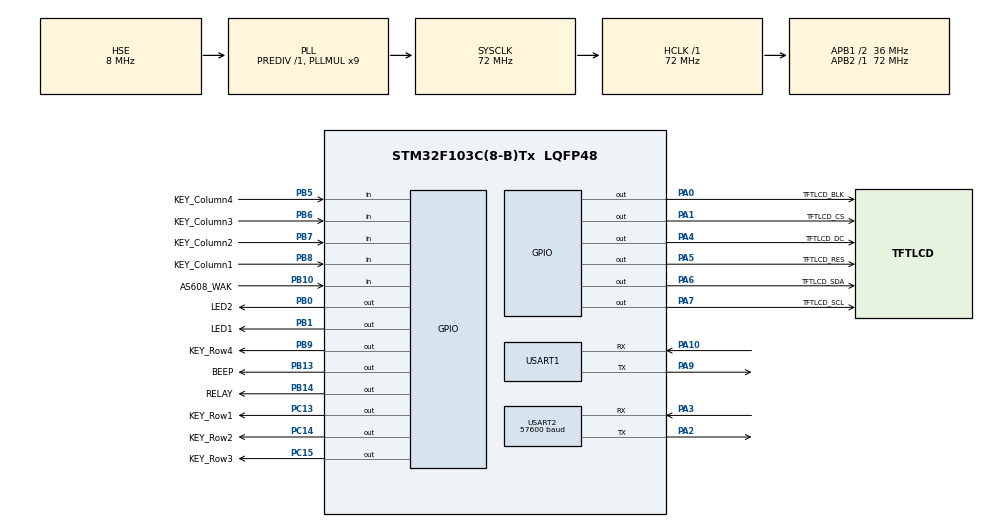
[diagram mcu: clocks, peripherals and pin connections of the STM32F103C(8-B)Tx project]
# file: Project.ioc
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Mcu.Family=STM32F1
Mcu.Name=STM32F103C(8-B)Tx
Mcu.Package=LQFP48
NVIC.PriorityGroup=NVIC_PRIORITYGROUP_4
NVIC.TIM2_IRQn=true\:10\:0\:true\:false\:true\:true\:true
NVIC.USART2_IRQn=true\:6\:0\:true\:false\:true\:true\:true
PA0-WKUP.GPIO_Label=TFTLCD_BLK
PA0-WKUP.GPIO_Speed=GPIO_SPEED_FREQ_MEDIUM
PA0-WKUP.PinState=GPIO_PIN_SET
PA0-WKUP.Signal=GPIO_Output
PA1.GPIO_Label=TFTLCD_CS
PA1.GPIO_Speed=GPIO_SPEED_FREQ_MEDIUM
PA1.PinState=GPIO_PIN_SET
PA1.Signal=GPIO_Output
PA10.Mode=Asynchronous
PA10.Signal=USART1_RX
PA13.Mode=Serial_Wire
PA13.Signal=SYS_JTMS-SWDIO
PA14.Mode=Serial_Wire
PA14.Signal=SYS_JTCK-SWCLK
PA2.Mode=Asynchronous
PA2.Signal=USART2_TX
PA3.Mode=Asynchronous
PA3.Signal=USART2_RX
PA4.GPIO_Label=TFTLCD_DC
PA4.GPIO_Speed=GPIO_SPEED_FREQ_MEDIUM
PA4.PinState=GPIO_PIN_SET
PA4.Signal=GPIO_Output
PA5.GPIO_Label=TFTLCD_RES
PA5.GPIO_Speed=GPIO_SPEED_FREQ_MEDIUM
PA5.PinState=GPIO_PIN_SET
PA5.Signal=GPIO_Output
PA6.GPIO_Label=TFTLCD_SDA
PA6.GPIO_Speed=GPIO_SPEED_FREQ_MEDIUM
PA6.PinState=GPIO_PIN_SET
PA6.Signal=GPIO_Output
PA7.GPIO_Label=TFTLCD_SCL
PA7.GPIO_ModeDefaultOutputPP=GPIO_MODE_OUTPUT_PP
PA7.GPIO_Speed=GPIO_SPEED_FREQ_MEDIUM
PA7.PinState=GPIO_PIN_SET
PA7.Signal=GPIO_Output
PA9.Mode=Asynchronous
PA9.Signal=USART1_TX
PB0.GPIO_Label=LED2
PB0.GPIO_Speed=GPIO_SPEED_FREQ_MEDIUM
PB0.PinState=GPIO_PIN_SET
PB0.Signal=GPIO_Output
PB1.GPIO_Label=LED1
PB1.GPIO_Speed=GPIO_SPEED_FREQ_MEDIUM
PB1.PinState=GPIO_PIN_SET
PB1.Signal=GPIO_Output
PB10.GPIO_Label=AS608_WAK
PB10.GPIO_PuPd=GPIO_PULLDOWN
PB10.Signal=GPIO_Input
PB13.GPIO_Label=BEEP
PB13.GPIO_Speed=GPIO_SPEED_FREQ_MEDIUM
PB13.Signal=GPIO_Output
PB14.GPIO_Label=RELAY
PB14.GPIO_Speed=GPIO_SPEED_FREQ_MEDIUM
PB14.Signal=GPIO_Output
PB5.GPIO_Label=KEY_Column4
PB5.GPIO_PuPd=GPIO_PULLDOWN
PB5.Signal=GPIO_Input
PB6.GPIO_Label=KEY_Column3
PB6.GPIO_PuPd=GPIO_PULLDOWN
PB6.Signal=GPIO_Input
PB7.GPIO_Label=KEY_Column2
PB7.GPIO_PuPd=GPIO_PULLDOWN
PB7.Signal=GPIO_Input
PB8.GPIO_Label=KEY_Column1
PB8.GPIO_PuPd=GPIO_PULLDOWN
PB8.Signal=GPIO_Input
PB9.GPIO_Label=KEY_Row4
PB9.GPIO_Speed=GPIO_SPEED_FREQ_MEDIUM
PB9.PinState=GPIO_PIN_RESET
PB9.Signal=GPIO_Output
PC13-TAMPER-RTC.GPIO_Label=KEY_Row1
PC13-TAMPER-RTC.GPIO_Speed=GPIO_SPEED_FREQ_MEDIUM
PC13-TAMPER-RTC.PinState=GPIO_PIN_RESET
PC13-TAMPER-RTC.Signal=GPIO_Output
PC14-OSC32_IN.GPIO_Label=KEY_Row2
PC14-OSC32_IN.GPIO_Speed=GPIO_SPEED_FREQ_MEDIUM
PC14-OSC32_IN.PinState=GPIO_PIN_RESET
PC14-OSC32_IN.Signal=GPIO_Output
PC15-OSC32_OUT.GPIO_Label=KEY_Row3
PC15-OSC32_OUT.GPIO_Speed=GPIO_SPEED_FREQ_MEDIUM
PC15-OSC32_OUT.PinState=GPIO_PIN_RESET
PC15-OSC32_OUT.Signal=GPIO_Output
PD0-OSC_IN.Mode=HSE-External-Oscillator
PD0-OSC_IN.Signal=RCC_OSC_IN
PD1-OSC_OUT.Mode=HSE-External-Oscillator
PD1-OSC_OUT.Signal=RCC_OSC_OUT
ProjectManager.HeapSize=0x200
ProjectManager.StackSize=0x400
ProjectManager.TargetToolchain=MDK-ARM V5.32
RCC.AHBFreq_Value=72000000
RCC.APB1CLKDivider=RCC_HCLK_DIV2
RCC.APB1Freq_Value=36000000
RCC.APB1TimFreq_Value=72000000
RCC.APB2Freq_Value=72000000
RCC.APB2TimFreq_Value=72000000
RCC.HCLKFreq_Value=72000000
RCC.PLLMUL=RCC_PLL_MUL9
RCC.PLLSourceVirtual=RCC_PLLSOURCE_HSE
RCC.SYSCLKFreq_VALUE=72000000
RCC.SYSCLKSource=RCC_SYSCLKSOURCE_PLLCLK
RCC.USBFreq_Value=72000000
TIM2.AutoReloadPreload=TIM_AUTORELOAD_PRELOAD_ENABLE
TIM2.Period=1000-1
TIM2.Prescaler=7200-1
USART1.VirtualMode=VM_ASYNC
USART2.BaudRate=57600
USART2.VirtualMode=VM_ASYNC
VP_TIM2_VS_ClockSourceINT.Mode=Internal
board=custom

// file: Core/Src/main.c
/* USER CODE BEGIN Header */
/**
  ******************************************************************************
  * @file           : main.c
  * @brief          : Main program body
  ******************************************************************************
  * @attention
  *
  * Copyright (c) 2022 STMicroelectronics.
  * All rights reserved.
  *
  * This software is licensed under terms that can be found in the LICENSE file
  * in the root directory of this software component.
  * If no LICENSE file comes with this software, it is provided AS-IS.
  *
  ******************************************************************************
  */
/* USER CODE END Header */
#include "main.h"
#include "tim.h"
#include "usart.h"
#include "gpio.h"

/* USER CODE BEGIN Includes */
#include "stdio.h"
#include "LED.h"
#include "lcd.h"
#include "lcd_init.h"
#include "as608.h"
#include "AS608_Func.h"
#include "KEY.h"
#include "user_interface.h"
#include "flash.h"
#include "func.h"
/* USER CODE END Includes */

/* USER CODE BEGIN PD */
#ifdef __GNUC __
/* With GCC, small printf (option LD Linker->Libraries->Small printf
   set to 'Yes') calls __io_putchar() */
#define PUTCHAR_PROTOTYPE int __io_putchar(int ch)
#else
#define PUTCHAR_PROTOTYPE int fputc(int ch, FILE *f)
#endif /* __GNUC__ */
/* USER CODE END PD */

/* USER CODE BEGIN PV */
/*前六位密码，第7位是否已初始化标志*/
uint32_t password[8] = {'1','2','3','4','5','6',1,0};
People people[PEOPLE_MAX_COUNT];
int people_ID_now = 0xaaaa;  /*0xaaaaa是没有身份的标志*/
uint32_t test[8];
TASK_status task_status;

/* USER CODE END PV */

void SystemClock_Config(void);

int main(void)
{
  /* USER CODE BEGIN 1 */

  // char *chinese = "中景";
  /* USER CODE END 1 */

  /* MCU Configuration--------------------------------------------------------*/

  /* Reset of all peripherals, Initializes the Flash interface and the Systick. */
  HAL_Init();

  /* Configure the system clock */
  SystemClock_Config();

  /* Initialize all configured peripherals */
  flash_init();
  MX_USART1_UART_Init();
  MX_GPIO_Init();
  MX_USART2_UART_Init();
  MX_TIM2_Init();
  /* USER CODE BEGIN 2 */

  LCD_Init();
	// LCD_Fill(0,0,LCD_W,LCD_H,WHITE);
	// LCD_ShowChinese(0,0,"中景",RED,WHITE,24,0);
	// LCD_ShowString(24,30,"LCD_W:",RED,WHITE,16,0);
  AS608_Init();
  init_ui();

  LCD_Fill(0,0,LCD_W,LCD_H,WHITE);

  task_status = run_door_task;  /*默认先启动这个任务*/

#if FLASH_INIT

  people_init();

  flash_write_password( ADDR_FLASH_PAGE_61,  ADDR_FLASH_PAGE_62,  password, COUNTOF(password) );
  HAL_Delay(200);
  flash_write_people( ADDR_FLASH_PAGE_62,  ADDR_FLASH_PAGE_63, people , COUNTOF(people));
  HAL_Delay(200);
  flash_read_password(ADDR_FLASH_PAGE_61, password, COUNTOF(password));
  HAL_Delay(200);
  flash_read_people( ADDR_FLASH_PAGE_62, people, COUNTOF(people) );
  HAL_Delay(200);

  printf("密码：");
  for (uint8_t i = 0; i < COUNTOF(password); i++)
  {
    printf("|%d",password[i]);
  }
  printf("\r\n");

  printf("people：");
  for (uint8_t i = 0; i < COUNTOF(people); i++)
  {
    printf("|ID:%d,identity:%d",people[i].ID,people[i].identity);
  }
    printf("\r\n");

  del_all_FR();

  while (1)
  {
    // printf("FLASH_INIT 成功\r\n");
  }

#else

  flash_read_password(ADDR_FLASH_PAGE_61, password, COUNTOF(password));
  HAL_Delay(200);
  flash_read_people( ADDR_FLASH_PAGE_62, people, COUNTOF(people) );
  HAL_Delay(200);

  printf("密码：");
  for (uint8_t i = 0; i < COUNTOF(password); i++)
  {
    printf("|%d",password[i]);
  }
  printf("\r\n");

  printf("people：");
  for (uint8_t i = 0; i < COUNTOF(people); i++)
  {
    printf("|ID:%d,identity:%d",people[i].ID,people[i].identity);
  }
    printf("\r\n");

#endif

  first_use();

  // Add_FR();

/* USER CODE END 2 */

  /* Infinite loop */
  /* USER CODE BEGIN WHILE */
  while (1)
  {
    // if(UART2_RX_FinishFlag == 1)
    // {
    //   Read_Uart2Buf((uint8_t*)test,COUNTOF(test));
    //   HAL_UART_Transmit(&huart2, (uint8_t*)test, COUNTOF(test), 0xFFFF);
    // }

    // HAL_UART_Transmit(&huart1, test, 8, 0XFFFF);
    // key_num = Key_Scan();
    get_key();
    LED_Toggle(LED1);
    HAL_Delay(200);
    printf("个数\r\n" );
    door_task();
    UI_TASK();

    /* USER CODE END WHILE */

  }
}

void SystemClock_Config(void)
{
  RCC_OscInitTypeDef RCC_OscInitStruct = {0};
  RCC_ClkInitTypeDef RCC_ClkInitStruct = {0};

  /** Initializes the RCC Oscillators according to the specified parameters
  * in the RCC_OscInitTypeDef structure.
  */
  RCC_OscInitStruct.OscillatorType = RCC_OSCILLATORTYPE_HSE;
  RCC_OscInitStruct.HSEState = RCC_HSE_ON;
  RCC_OscInitStruct.HSEPredivValue = RCC_HSE_PREDIV_DIV1;
  RCC_OscInitStruct.HSIState = RCC_HSI_ON;
  RCC_OscInitStruct.PLL.PLLState = RCC_PLL_ON;
  RCC_OscInitStruct.PLL.PLLSource = RCC_PLLSOURCE_HSE;
  RCC_OscInitStruct.PLL.PLLMUL = RCC_PLL_MUL9;
  if (HAL_RCC_OscConfig(&RCC_OscInitStruct) != HAL_OK)
  {
    Error_Handler();
  }
  /** Initializes the CPU, AHB and APB buses clocks
  */
  RCC_ClkInitStruct.ClockType = RCC_CLOCKTYPE_HCLK|RCC_CLOCKTYPE_SYSCLK
                              |RCC_CLOCKTYPE_PCLK1|RCC_CLOCKTYPE_PCLK2;
  RCC_ClkInitStruct.SYSCLKSource = RCC_SYSCLKSOURCE_PLLCLK;
  RCC_ClkInitStruct.AHBCLKDivider = RCC_SYSCLK_DIV1;
  RCC_ClkInitStruct.APB1CLKDivider = RCC_HCLK_DIV2;
  RCC_ClkInitStruct.APB2CLKDivider = RCC_HCLK_DIV1;

  if (HAL_RCC_ClockConfig(&RCC_ClkInitStruct, FLASH_LATENCY_2) != HAL_OK)
  {
    Error_Handler();
  }
}

/* USER CODE BEGIN 4 */
/**
  * @brief  Retargets the C library printf function to the USART.
  * @param  None
  * @retval None
  */
PUTCHAR_PROTOTYPE
{
  /* Place your implementation of fputc here */
  /* e.g. write a character to the USART1 and Loop until the end of transmission */
  HAL_UART_Transmit(&huart1, (uint8_t *)&ch, 1, 0xFFFF);

  return ch;
}

void string_Printf(uint32_t *string, uint8_t num)
{
  printf("count = %d", num);

  while (num--)
  {
    printf(" |%c",*string++);
  }

  printf("\r\n");
}

/* USER CODE END 4 */

void Error_Handler(void)
{
  /* USER CODE BEGIN Error_Handler_Debug */
  /* User can add his own implementation to report the HAL error return state */
  __disable_irq();
  while (1)
  {
    // LED_Off(LED0);
  }
  /* USER CODE END Error_Handler_Debug */
}
